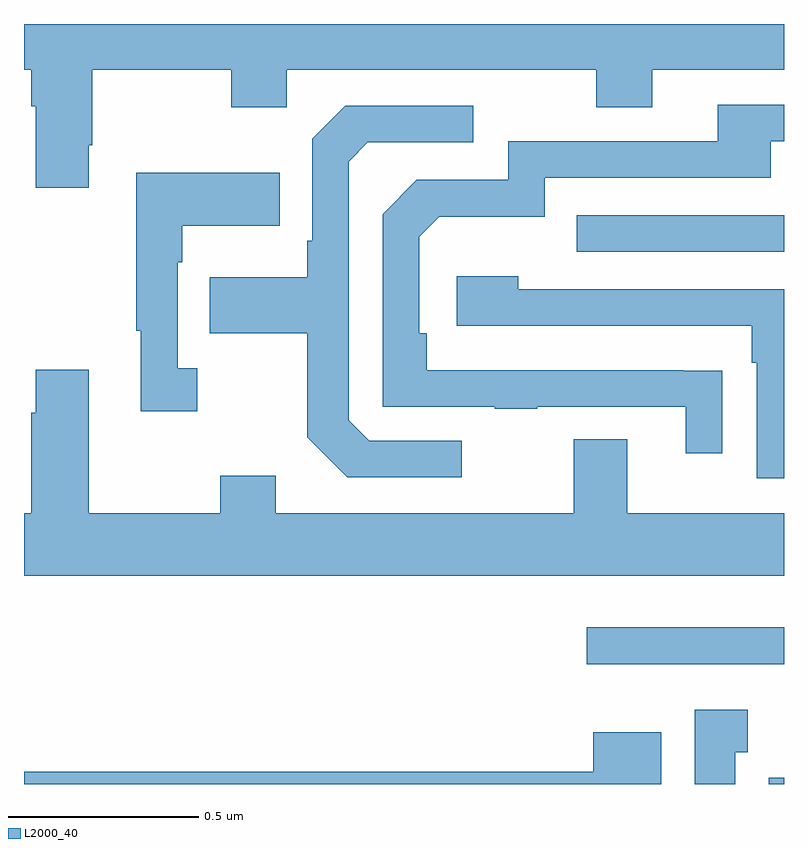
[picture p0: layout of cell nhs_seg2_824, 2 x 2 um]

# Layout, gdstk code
import gdstk
lib = gdstk.Library(unit=1e-6, precision=1e-09)
def R(c, l, rs):  # rectangles x0, y0, x1, y1
    for r in rs: c.add(gdstk.rectangle(r[:2], r[2:], *l))
def P(c, l, *ps):  # polygons
    for p in ps: c.add(gdstk.Polygon(p, *l))
L2000_40 = (2000, 40)

nhs_seg2_824 = lib.new_cell('nhs_seg2_824')
R(nhs_seg2_824, L2000_40, [(122.96,601.8,123,601.816), (122.481,602.115,123,602.212), (122.455,603.201,123,603.297)])
P(nhs_seg2_824, L2000_40, [(121.171,603.481),(121.179,603.481),(121.179,603.68),(121.546,603.68),(121.546,603.581),(121.692,603.581),(121.692,603.68),(122.506,603.68),(122.506,603.581),(122.653,603.581),(122.653,603.68),(123,603.68),(123,603.8),(121,603.8),(121,603.68),(121.019,603.68),(121.019,603.584),(121.031,603.584),(121.031,603.369),(121.171,603.369)],
  [(122.837,602.888),(122.735,602.888),(122.735,602.889),(122.06,602.889),(122.06,602.986),(122.04,602.986),(122.04,603.24),(122.093,603.293),(122.37,603.293),(122.37,603.396),(122.965,603.396),(122.965,603.492),(123,603.492),(123,603.588),(122.825,603.588),(122.825,603.492),(122.274,603.492),(122.274,603.39),(122.034,603.39),(121.944,603.3),(121.944,602.793),(122.239,602.793),(122.239,602.788),(122.351,602.788),(122.351,602.793),(122.741,602.793),(122.741,602.67),(122.837,602.67)],
  [(122.152,602.703),(121.908,602.703),(121.854,602.757),(121.854,603.438),(121.905,603.489),(122.182,603.489),(122.182,603.585),(121.845,603.585),(121.758,603.498),(121.758,603.229),(121.746,603.229),(121.746,603.133),(121.489,603.133),(121.489,602.986),(121.746,602.986),(121.746,602.713),(121.851,602.607),(122.152,602.607)],
  [(121.456,602.894),(121.404,602.894),(121.404,603.173),(121.417,603.173),(121.417,603.269),(121.673,603.269),(121.673,603.409),(121.296,603.409),(121.296,602.993),(121.307,602.993),(121.307,602.781),(121.456,602.781)],
  [(123,603.102),(122.3,603.102),(122.3,603.136),(122.139,603.136),(122.139,603.006),(122.915,603.006),(122.915,602.909),(122.928,602.909),(122.928,602.604),(123,602.604)],
  [(123,602.512),(122.587,602.512),(122.587,602.707),(122.447,602.707),(122.447,602.512),(121.663,602.512),(121.663,602.611),(121.516,602.611),(121.516,602.512),(121.171,602.512),(121.171,602.89),(121.031,602.89),(121.031,602.777),(121.019,602.777),(121.019,602.512),(121,602.512),(121,602.348),(123,602.348)],
  [(122.872,601.883),(122.905,601.883),(122.905,601.996),(122.765,601.996),(122.765,601.8),(122.872,601.8)],
  [(122.677,601.936),(122.498,601.936),(122.498,601.832),(121,601.832),(121,601.8),(122.677,601.8)])

lib.write_gds('nhs_seg2_824.gds')
